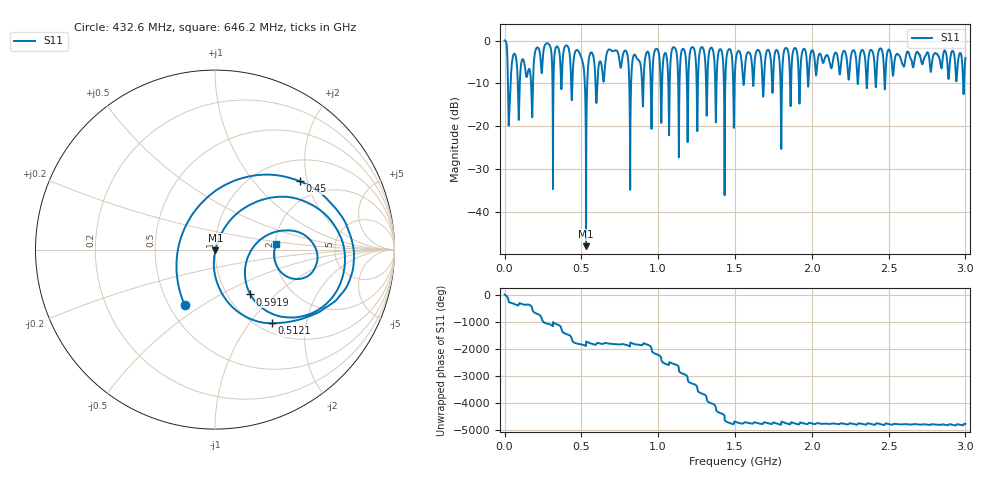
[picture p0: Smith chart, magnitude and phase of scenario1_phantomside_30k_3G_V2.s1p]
!Agilent N9914A: A.07.26
!Date: Wednesday, 22 February 2023 10:40:24
!Model: N9914A
!Serial: MY53102584
!GPS Latitude:
!GPS Longitude:
!GPS TimeStamp: 0001-01-01 00:00:00Z
!GPS Seconds Since Last Read: 0
!CHECKSUM:0914277839
!Correction: S11(ON U)
!S1P File: Measurement: S11:
# Hz S DB R 50
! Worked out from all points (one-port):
!   10001 points, 30 kHz to 3 GHz, reference 50 ohm
!   lowest |S11| = -47.9 dB at 530.4 MHz (marker M1), VSWR 1.01, Z = 50.2 - j0.361 ohm
!   |S11| at or under -10 dB: 21.7 MHz to 39.04 MHz (17.33 MHz wide, 57.1 % of centre); 85.9 MHz to 98.73 MHz (12.84 MHz wide, 13.9 % of centre); 522.1 MHz to 538.1 MHz (15.96 MHz wide, 3.01 % of centre)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
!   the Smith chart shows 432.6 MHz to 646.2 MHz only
!   S11 on the Smith chart (normalised r, x): 432.6 MHz: 0.60, -0.42; 450 MHz: 1.49, +1.80; 512.1 MHz: 1.15, -1.29; 591.9 MHz: 1.27, -0.71; 646.2 MHz: 2.03, +0.14
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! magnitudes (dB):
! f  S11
! 30 kHz  0.0
! 33.63 MHz  -14.5
! 62.43 MHz  -3.1
! 93.33 MHz  -17.4
! 274.2 MHz  -0.6
! 375 MHz  -6.7
! 432.6 MHz  -9.1
! 450 MHz  -4.3
! 512.1 MHz  -5.7
! 530.4 MHz  -47.9
! 560.1 MHz  -2.8
! 591.9 MHz  -9.9
! 646.2 MHz  -9.3
! 750 MHz  -5.4
! 791.1 MHz  -2.4
! 819.3 MHz  -19.3
! 846.3 MHz  -3.3
! 1.069 GHz  -16.7
! 1.103 GHz  -1.6
! 1.125 GHz  -4.8
! 1.257 GHz  -14.9
! 1.285 GHz  -1.5
! 1.5 GHz  -7.3
! 1.523 GHz  -2.4
! 1.875 GHz  -3.1
! 2.25 GHz  -5.1
! 2.625 GHz  -2.6
! 3 GHz  -4.1
